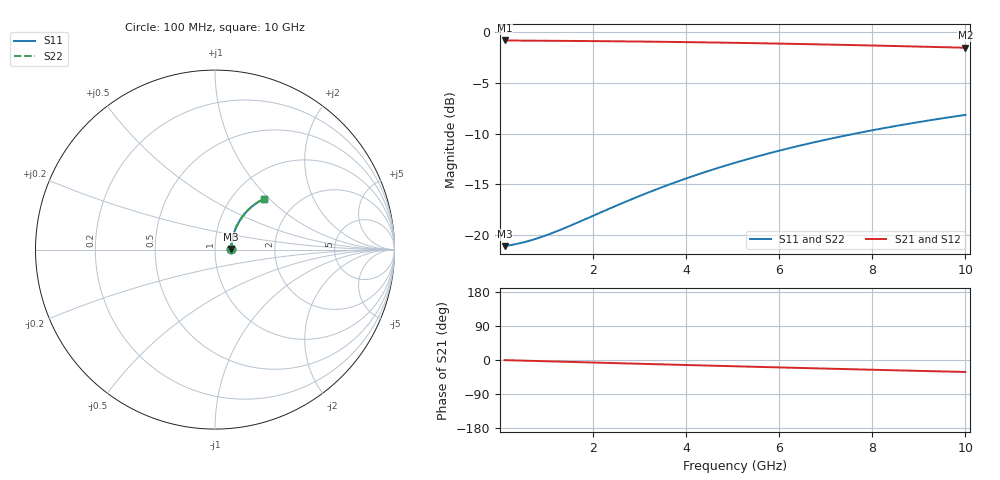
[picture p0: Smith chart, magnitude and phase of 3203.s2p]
# Hz S RI R 50.00
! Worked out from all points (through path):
!   100 points, 100 MHz to 10 GHz, reference 50 ohm
!   highest |S21| = -0.80 dB at 100 MHz (marker M1); lowest = -1.5 dB at 10 GHz (marker M2)
!   group delay of S21, straight-line fit = 8.8 ps
!   lowest |S11| = -21.1 dB at 100 MHz (marker M3), VSWR 1.19, Z = 59.6 + j0.452 ohm
!   |S11| at or under -10 dB: start of sweep to 7.626 GHz
!   |S22| runs from -21.1 to -8.1 dB; largest |S21 - S12| = 0
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1e8  0.088 0.00376  0.912 -0.00532  0.912 -0.00532  0.088 0.00376
3e8  0.0891 0.0112  0.9109 -0.0159  0.9109 -0.0159  0.0891 0.0112
5e8  0.09 0.0187  0.91 -0.0265  0.91 -0.0265  0.09 0.0187
8e8  0.0915 0.0298  0.9085 -0.0423  0.9085 -0.0423  0.0915 0.0298
1e9  0.0926 0.0372  0.9073 -0.0529  0.9073 -0.0529  0.0926 0.0372
1.2e9  0.0938 0.0446  0.906 -0.0633  0.906 -0.0633  0.0938 0.0446
1.5e9  0.0959 0.0556  0.9038 -0.079  0.9038 -0.079  0.0959 0.0556
1.8e9  0.0984 0.0664  0.9012 -0.0946  0.9012 -0.0946  0.0984 0.0664
2.7e9  0.1078 0.0983  0.8913 -0.1405  0.8913 -0.1405  0.1078 0.0983
3.1e9  0.1129 0.112  0.8858 -0.1605  0.8858 -0.1605  0.1129 0.112
3.4e9  0.1171 0.1221  0.8813 -0.1753  0.8813 -0.1753  0.1171 0.1221
3.8e9  0.1233 0.1353  0.8748 -0.1948  0.8748 -0.1948  0.1233 0.1353
4.2e9  0.13 0.1481  0.8677 -0.2139  0.8677 -0.2139  0.13 0.1481
4.6e9  0.1372 0.1606  0.86 -0.2326  0.86 -0.2326  0.1372 0.1606
5.1e9  0.1469 0.1755  0.8497 -0.2554  0.8497 -0.2554  0.1469 0.1755
5.5e9  0.1552 0.187  0.8409 -0.2732  0.8409 -0.2732  0.1552 0.187
5.9e9  0.164 0.198  0.8315 -0.2905  0.8315 -0.2905  0.164 0.198
6.7e9  0.1826 0.2187  0.8115 -0.3238  0.8115 -0.3238  0.1826 0.2187
7.5e9  0.2027 0.2373  0.79 -0.3551  0.79 -0.3551  0.2027 0.2373
8.4e9  0.2266 0.2557  0.7642 -0.3878  0.7642 -0.3878  0.2266 0.2557
9.2e9  0.2487 0.2698  0.7402 -0.4147  0.7402 -0.4147  0.2487 0.2698
1e10  0.2715 0.2819  0.7154 -0.4395  0.7154 -0.4395  0.2715 0.2819
